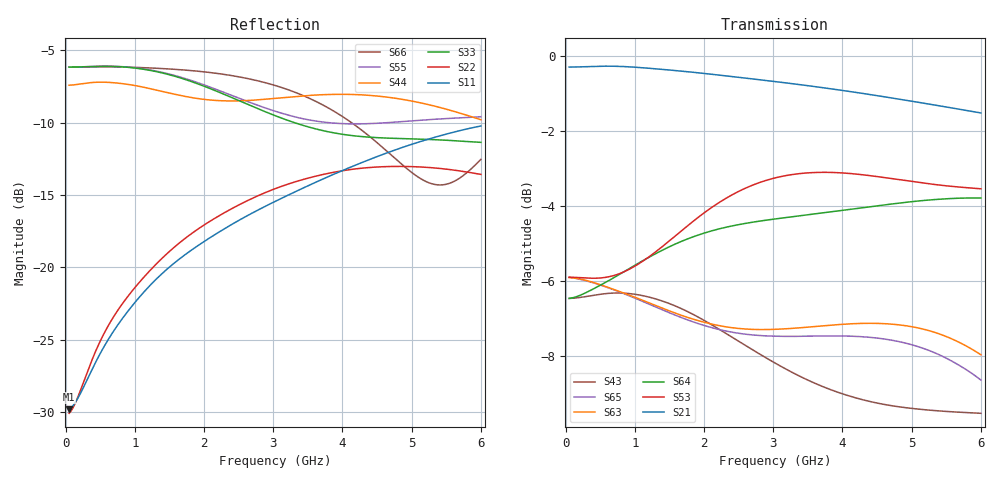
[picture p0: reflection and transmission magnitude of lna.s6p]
! agentee lna-rf
! ports IN AMP_IN AMP_OUT OUT L1 L3
# Hz S RI R 50
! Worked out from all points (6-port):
!   596 points, 50 MHz to 6 GHz, reference 50 ohm
!   strongest paths, dB at 50 MHz, 1.54 GHz, 3.03 GHz, 4.52 GHz, 6 GHz:
!     S21: -0.3, -0.4, -0.7, -1.1, -1.5
!     S53: -5.9, -4.9, -3.2, -3.2, -3.5
!     S64: -6.5, -5.0, -4.3, -4.0, -3.8
!     S63: -5.9, -6.8, -7.3, -7.1, -8.0
!     S65: -5.9, -6.9, -7.5, -7.5, -8.6
!     S43: -6.5, -6.6, -8.2, -9.2, -9.5
!   lowest |S11| = -29.8 dB at 50 MHz (marker M1), VSWR 1.07, Z = 53.3 - j0.599 ohm
!   |S11| at or under -10 dB: start of sweep to end of sweep
